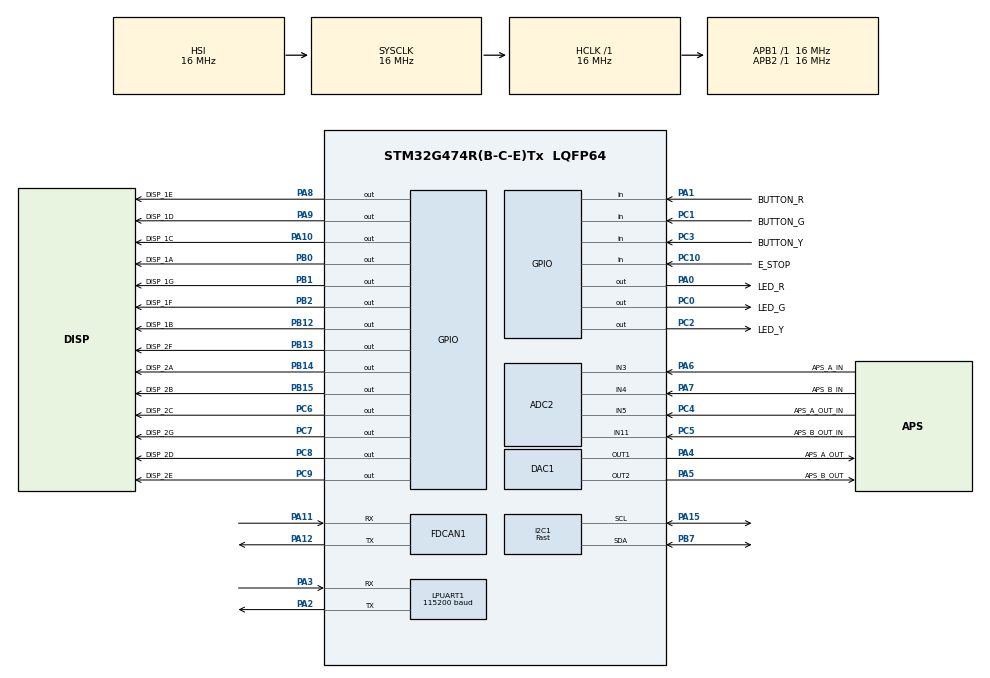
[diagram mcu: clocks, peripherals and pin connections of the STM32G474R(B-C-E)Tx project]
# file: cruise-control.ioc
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ADC2.Channel-2\#ChannelRegularConversion=ADC_CHANNEL_3
ADC2.Channel-3\#ChannelRegularConversion=ADC_CHANNEL_4
ADC2.Channel-4\#ChannelRegularConversion=ADC_CHANNEL_5
ADC2.Channel-5\#ChannelRegularConversion=ADC_CHANNEL_11
ADC2.ContinuousConvMode=ENABLE
ADC2.DMAContinuousRequests=ENABLE
ADC2.NbrOfConversion=4
ADC2.NbrOfConversionFlag=1
ADC2.OffsetNumber-2\#ChannelRegularConversion=ADC_OFFSET_NONE
ADC2.OffsetNumber-3\#ChannelRegularConversion=ADC_OFFSET_NONE
ADC2.OffsetNumber-4\#ChannelRegularConversion=ADC_OFFSET_NONE
ADC2.OffsetNumber-5\#ChannelRegularConversion=ADC_OFFSET_NONE
ADC2.Overrun=ADC_OVR_DATA_OVERWRITTEN
ADC2.Rank-2\#ChannelRegularConversion=1
ADC2.Rank-3\#ChannelRegularConversion=2
ADC2.Rank-4\#ChannelRegularConversion=3
ADC2.Rank-5\#ChannelRegularConversion=4
ADC2.SamplingTime-2\#ChannelRegularConversion=ADC_SAMPLETIME_640CYCLES_5
ADC2.SamplingTime-3\#ChannelRegularConversion=ADC_SAMPLETIME_640CYCLES_5
ADC2.SamplingTime-4\#ChannelRegularConversion=ADC_SAMPLETIME_640CYCLES_5
ADC2.SamplingTime-5\#ChannelRegularConversion=ADC_SAMPLETIME_640CYCLES_5
DAC1.DAC_Channel-DAC_OUT2=DAC_CHANNEL_2
Dma.ADC2.0.Direction=DMA_PERIPH_TO_MEMORY
Dma.ADC2.0.EventEnable=DISABLE
Dma.ADC2.0.Instance=DMA1_Channel1
Dma.ADC2.0.MemDataAlignment=DMA_MDATAALIGN_HALFWORD
Dma.ADC2.0.MemInc=DMA_MINC_ENABLE
Dma.ADC2.0.Mode=DMA_CIRCULAR
Dma.ADC2.0.PeriphDataAlignment=DMA_PDATAALIGN_HALFWORD
Dma.ADC2.0.PeriphInc=DMA_PINC_DISABLE
Dma.ADC2.0.Polarity=HAL_DMAMUX_REQ_GEN_RISING
Dma.ADC2.0.Priority=DMA_PRIORITY_LOW
Dma.ADC2.0.RequestNumber=1
Dma.ADC2.0.SignalID=NONE
Dma.ADC2.0.SyncEnable=DISABLE
Dma.ADC2.0.SyncPolarity=HAL_DMAMUX_SYNC_NO_EVENT
Dma.ADC2.0.SyncRequestNumber=1
Dma.ADC2.0.SyncSignalID=NONE
Dma.Request0=ADC2
FDCAN1.AutoRetransmission=ENABLE
FDCAN1.CalculateBaudRateNominal=500000
FDCAN1.CalculateTimeBitNominal=2000
FDCAN1.CalculateTimeQuantumNominal=125.0
FDCAN1.ClockDivider=FDCAN_CLOCK_DIV1
FDCAN1.NominalPrescaler=2
FDCAN1.NominalTimeSeg1=13
FDCAN1.StdFiltersNbr=1
I2C1.I2C_Speed_Mode=I2C_Fast
I2C1.Timing=0x0010061A
LPUART1.BaudRate=115200
Mcu.Family=STM32G4
Mcu.Name=STM32G474R(B-C-E)Tx
Mcu.Package=LQFP64
NVIC.ADC1_2_IRQn=true\:0\:0\:false\:false\:true\:true\:true\:true
NVIC.DMA1_Channel1_IRQn=true\:0\:0\:false\:false\:true\:false\:true\:true
NVIC.FDCAN1_IT0_IRQn=true\:0\:0\:false\:false\:true\:true\:true\:true
NVIC.FDCAN1_IT1_IRQn=true\:0\:0\:false\:false\:true\:true\:true\:true
NVIC.I2C1_ER_IRQn=true\:0\:0\:false\:false\:true\:true\:true\:true
NVIC.I2C1_EV_IRQn=true\:0\:0\:false\:false\:true\:true\:true\:true
NVIC.PriorityGroup=NVIC_PRIORITYGROUP_4
PA0.GPIO_Label=LED_R
PA0.Signal=GPIO_Output
PA1.GPIO_Label=BUTTON_R
PA1.Signal=GPIO_Input
PA10.GPIO_Label=DISP_1C
PA10.Signal=GPIO_Output
PA11.Mode=FDCAN_Activate
PA11.Signal=FDCAN1_RX
PA12.Mode=FDCAN_Activate
PA12.Signal=FDCAN1_TX
PA13.Mode=Trace_Asynchronous_SW
PA13.Signal=SYS_JTMS-SWDIO
PA14.Mode=Trace_Asynchronous_SW
PA14.Signal=SYS_JTCK-SWCLK
PA15.Mode=I2C
PA15.Signal=I2C1_SCL
PA2.Mode=Asynchronous
PA2.Signal=LPUART1_TX
PA3.Mode=Asynchronous
PA3.Signal=LPUART1_RX
PA4.GPIO_Label=APS_A_OUT
PA4.Signal=COMP_DAC11_group
PA5.GPIO_Label=APS_B_OUT
PA5.Signal=COMP_DAC12_group
PA6.GPIO_Label=APS_A_IN
PA6.Mode=IN3-Single-Ended
PA6.Signal=ADC2_IN3
PA7.GPIO_Label=APS_B_IN
PA7.Mode=IN4-Single-Ended
PA7.Signal=ADC2_IN4
PA8.GPIO_Label=DISP_1E
PA8.Signal=GPIO_Output
PA9.GPIO_Label=DISP_1D
PA9.Signal=GPIO_Output
PB0.GPIO_Label=DISP_1A
PB0.Signal=GPIO_Output
PB1.GPIO_Label=DISP_1G
PB1.Signal=GPIO_Output
PB12.GPIO_Label=DISP_1B
PB12.Signal=GPIO_Output
PB13.GPIO_Label=DISP_2F
PB13.Signal=GPIO_Output
PB14.GPIO_Label=DISP_2A
PB14.Signal=GPIO_Output
PB15.GPIO_Label=DISP_2B
PB15.Signal=GPIO_Output
PB2.GPIO_Label=DISP_1F
PB2.Signal=GPIO_Output
PB3.Mode=Trace_Asynchronous_SW
PB3.Signal=SYS_JTDO-SWO
PB7.Mode=I2C
PB7.Signal=I2C1_SDA
PC0.GPIO_Label=LED_G
PC0.Signal=GPIO_Output
PC1.GPIO_Label=BUTTON_G
PC1.Signal=GPIO_Input
PC10.GPIO_Label=E_STOP
PC10.Signal=GPIO_Input
PC2.GPIO_Label=LED_Y
PC2.Signal=GPIO_Output
PC3.GPIO_Label=BUTTON_Y
PC3.Signal=GPIO_Input
PC4.GPIO_Label=APS_A_OUT_IN
PC4.Mode=IN5-Single-Ended
PC4.Signal=ADC2_IN5
PC5.GPIO_Label=APS_B_OUT_IN
PC5.Mode=IN11-Single-Ended
PC5.Signal=ADC2_IN11
PC6.GPIO_Label=DISP_2C
PC6.Signal=GPIO_Output
PC7.GPIO_Label=DISP_2G
PC7.Signal=GPIO_Output
PC8.GPIO_Label=DISP_2D
PC8.Signal=GPIO_Output
PC9.GPIO_Label=DISP_2E
PC9.Signal=GPIO_Output
PF0-OSC_IN.Signal=RCC_OSC_IN
PF1-OSC_OUT.Signal=RCC_OSC_OUT
ProjectManager.HeapSize=0x200
ProjectManager.StackSize=0x400
ProjectManager.TargetToolchain=STM32CubeIDE
RCC.ADC12Freq_Value=16000000
RCC.ADC345Freq_Value=16000000
RCC.AHBFreq_Value=16000000
RCC.APB1Freq_Value=16000000
RCC.APB1TimFreq_Value=16000000
RCC.APB2Freq_Value=16000000
RCC.APB2TimFreq_Value=16000000
RCC.CortexFreq_Value=16000000
RCC.EXTERNAL_CLOCK_VALUE=12288000
RCC.HCLKFreq_Value=16000000
RCC.HSE_VALUE=24000000
RCC.HSI48_VALUE=48000000
RCC.HSI_VALUE=16000000
RCC.LSE_VALUE=32768
RCC.PLLM=RCC_PLLM_DIV2
RCC.SYSCLKFreq_VALUE=16000000
RCC.USBFreq_Value=32000000
RCC.VCOOutputFreq_Value=64000000
SH.COMP_DAC11_group.0=DAC1_OUT1,DAC_OUT1
SH.COMP_DAC12_group.0=DAC1_OUT2,DAC_OUT2
board=custom

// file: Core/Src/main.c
/* USER CODE BEGIN Header */
/**
  ******************************************************************************
  * @file           : main.c
  * @brief          : Main program body
  ******************************************************************************
  * @attention
  *
  * Copyright (c) 2023 STMicroelectronics.
  * All rights reserved.
  *
  * This software is licensed under terms that can be found in the LICENSE file
  * in the root directory of this software component.
  * If no LICENSE file comes with this software, it is provided AS-IS.
  *
  ******************************************************************************
  */
/* USER CODE END Header */
#include "main.h"

/* USER CODE BEGIN Includes */
#include <stdio.h>
#include "display.h"
#include "obd2.h"
#include "led.h"
#include "lsm6dsl.h"
#include "button.h"
#include "throttle_map.h"
#include "controller.h"
#include "fir_filter.h"
/* USER CODE END Includes */

/* USER CODE BEGIN PD */
#define ADC_APS_A 0
#define ADC_APS_B 1
#define ADC_APS_A_OUT 2
#define ADC_APS_B_OUT 3
#define ADC_NUM_CHANNELS 4
/* USER CODE END PD */

ADC_HandleTypeDef hadc2;
DMA_HandleTypeDef hdma_adc2;

DAC_HandleTypeDef hdac1;

FDCAN_HandleTypeDef hfdcan1;

I2C_HandleTypeDef hi2c1;

UART_HandleTypeDef hlpuart1;

/* USER CODE BEGIN PV */
uint16_t adc_buffer[ADC_NUM_CHANNELS];
/* USER CODE END PV */

void SystemClock_Config(void);
static void MX_GPIO_Init(void);
static void MX_DMA_Init(void);
static void MX_LPUART1_UART_Init(void);
static void MX_ADC2_Init(void);
static void MX_FDCAN1_Init(void);
static void MX_I2C1_Init(void);
static void MX_DAC1_Init(void);

/* USER CODE BEGIN 0 */
float ADC_conv_count_to_volts(uint16_t count)
{
	return (((2.2 + 1.5) * ((3.3 * count) / 4095.0f)) / 2.2) + 0.1;
}
uint16_t DAC_conv_volts_to_count(float v)
{
	return (4095.0f * (v - 0.01)) / (((22.0f / 33.0f) + 1) * 3.3);
}
/* USER CODE END 0 */

int main(void)
{

  /* MCU Configuration--------------------------------------------------------*/

  /* Reset of all peripherals, Initializes the Flash interface and the Systick. */
  HAL_Init();

  /* Configure the system clock */
  SystemClock_Config();

  /* Initialize all configured peripherals */
  MX_GPIO_Init();
  MX_DMA_Init();
  MX_LPUART1_UART_Init();
  MX_ADC2_Init();
  MX_FDCAN1_Init();
  MX_I2C1_Init();
  MX_DAC1_Init();
  /* USER CODE BEGIN 2 */
  HAL_ADC_Start_DMA(&hadc2, (uint32_t *) adc_buffer, ADC_NUM_CHANNELS);

  obd2_init(&hfdcan1);

  controller_init();

  HAL_DAC_Start(&hdac1, DAC_CHANNEL_1);
  HAL_DAC_Start(&hdac1, DAC_CHANNEL_2);

  uint32_t last_update = HAL_GetTick();
  /* USER CODE END 2 */

  /* Infinite loop */
  /* USER CODE BEGIN WHILE */
  while (1)
  {
	float aps_a_in = ADC_conv_count_to_volts(adc_buffer[ADC_APS_A]);
	float aps_b_in = ADC_conv_count_to_volts(adc_buffer[ADC_APS_B]);

	float aps_a_out_actual = ADC_conv_count_to_volts(adc_buffer[ADC_APS_A_OUT]);
	float aps_b_out_actual = ADC_conv_count_to_volts(adc_buffer[ADC_APS_B_OUT]);

	UNUSED(aps_a_out_actual);
	UNUSED(aps_b_out_actual);

	float aps_a_out = 0;
	float aps_b_out = 0;

	uint8_t aps_agreement = 0;

	HAL_StatusTypeDef obd2_status = HAL_OK;

	float throttle_in = 0;
	float throttle_out = 0;

	float current_speed = 0;

	Controller_Error error_flag = CONTROLLER_ERROR_OK;

	obd2_status = obd2_get_status();

	if (obd2_status != HAL_OK)
	{
		error_flag |= CONTROLLER_ERROR_CAN;
	}

	obd2_status = obd2_request_speed(&hfdcan1);

	if (obd2_status != HAL_OK)
	{
		error_flag |= CONTROLLER_ERROR_CAN;
	}

	current_speed = obd2_get_speed();

	throttle_in = throttle_map(aps_a_in, aps_b_in, &aps_agreement);

	if (aps_agreement == 0)
	{
		error_flag |= CONTROLLER_ERROR_APS;
	}

	throttle_out = controller_run(current_speed, throttle_in, error_flag);

	throttle_map_inv(throttle_out, &aps_a_out, &aps_b_out);

	HAL_DAC_SetValue(&hdac1, DAC_CHANNEL_1, DAC_ALIGN_12B_R, DAC_conv_volts_to_count(aps_a_out));
	HAL_DAC_SetValue(&hdac1, DAC_CHANNEL_2, DAC_ALIGN_12B_R, DAC_conv_volts_to_count(aps_b_out));

	printf("a_in:%.3f  b_in:%.3f  t_in:%d  t_out:%d  a_out:%.3f  b_out:%.3f\r\n", aps_a_in, aps_b_in, (uint8_t)throttle_in, (uint8_t)throttle_out, aps_a_out_actual, aps_b_out_actual);
//	printf("%ld, %.3f, %.3f, %.3f, %.3f\r\n", HAL_GetTick(), aps_a_in, aps_b_in, aps_a_out_actual, aps_b_out_actual);

	while (HAL_GetTick() - last_update < CONTROLLER_LOOP_PERIOD_MS);
	last_update = HAL_GetTick();
    /* USER CODE END WHILE */

  }
}

void SystemClock_Config(void)
{
  RCC_OscInitTypeDef RCC_OscInitStruct = {0};
  RCC_ClkInitTypeDef RCC_ClkInitStruct = {0};

  /** Configure the main internal regulator output voltage
  */
  HAL_PWREx_ControlVoltageScaling(PWR_REGULATOR_VOLTAGE_SCALE1);

  /** Initializes the RCC Oscillators according to the specified parameters
  * in the RCC_OscInitTypeDef structure.
  */
  RCC_OscInitStruct.OscillatorType = RCC_OSCILLATORTYPE_HSI;
  RCC_OscInitStruct.HSIState = RCC_HSI_ON;
  RCC_OscInitStruct.HSICalibrationValue = RCC_HSICALIBRATION_DEFAULT;
  RCC_OscInitStruct.PLL.PLLState = RCC_PLL_NONE;
  if (HAL_RCC_OscConfig(&RCC_OscInitStruct) != HAL_OK)
  {
    Error_Handler();
  }

  /** Initializes the CPU, AHB and APB buses clocks
  */
  RCC_ClkInitStruct.ClockType = RCC_CLOCKTYPE_HCLK|RCC_CLOCKTYPE_SYSCLK
                              |RCC_CLOCKTYPE_PCLK1|RCC_CLOCKTYPE_PCLK2;
  RCC_ClkInitStruct.SYSCLKSource = RCC_SYSCLKSOURCE_HSI;
  RCC_ClkInitStruct.AHBCLKDivider = RCC_SYSCLK_DIV1;
  RCC_ClkInitStruct.APB1CLKDivider = RCC_HCLK_DIV1;
  RCC_ClkInitStruct.APB2CLKDivider = RCC_HCLK_DIV1;

  if (HAL_RCC_ClockConfig(&RCC_ClkInitStruct, FLASH_LATENCY_0) != HAL_OK)
  {
    Error_Handler();
  }
}

static void MX_ADC2_Init(void)
{

  ADC_ChannelConfTypeDef sConfig = {0};

  /** Common config
  */
  hadc2.Instance = ADC2;
  hadc2.Init.ClockPrescaler = ADC_CLOCK_SYNC_PCLK_DIV2;
  hadc2.Init.Resolution = ADC_RESOLUTION_12B;
  hadc2.Init.DataAlign = ADC_DATAALIGN_RIGHT;
  hadc2.Init.GainCompensation = 0;
  hadc2.Init.ScanConvMode = ADC_SCAN_ENABLE;
  hadc2.Init.EOCSelection = ADC_EOC_SINGLE_CONV;
  hadc2.Init.LowPowerAutoWait = DISABLE;
  hadc2.Init.ContinuousConvMode = ENABLE;
  hadc2.Init.NbrOfConversion = 4;
  hadc2.Init.DiscontinuousConvMode = DISABLE;
  hadc2.Init.ExternalTrigConv = ADC_SOFTWARE_START;
  hadc2.Init.ExternalTrigConvEdge = ADC_EXTERNALTRIGCONVEDGE_NONE;
  hadc2.Init.DMAContinuousRequests = ENABLE;
  hadc2.Init.Overrun = ADC_OVR_DATA_OVERWRITTEN;
  hadc2.Init.OversamplingMode = DISABLE;
  if (HAL_ADC_Init(&hadc2) != HAL_OK)
  {
    Error_Handler();
  }

  /** Configure Regular Channel
  */
  sConfig.Channel = ADC_CHANNEL_3;
  sConfig.Rank = ADC_REGULAR_RANK_1;
  sConfig.SamplingTime = ADC_SAMPLETIME_640CYCLES_5;
  sConfig.SingleDiff = ADC_SINGLE_ENDED;
  sConfig.OffsetNumber = ADC_OFFSET_NONE;
  sConfig.Offset = 0;
  if (HAL_ADC_ConfigChannel(&hadc2, &sConfig) != HAL_OK)
  {
    Error_Handler();
  }

  /** Configure Regular Channel
  */
  sConfig.Channel = ADC_CHANNEL_4;
  sConfig.Rank = ADC_REGULAR_RANK_2;
  if (HAL_ADC_ConfigChannel(&hadc2, &sConfig) != HAL_OK)
  {
    Error_Handler();
  }

  /** Configure Regular Channel
  */
  sConfig.Channel = ADC_CHANNEL_5;
  sConfig.Rank = ADC_REGULAR_RANK_3;
  if (HAL_ADC_ConfigChannel(&hadc2, &sConfig) != HAL_OK)
  {
    Error_Handler();
  }

  /** Configure Regular Channel
  */
  sConfig.Channel = ADC_CHANNEL_11;
  sConfig.Rank = ADC_REGULAR_RANK_4;
  if (HAL_ADC_ConfigChannel(&hadc2, &sConfig) != HAL_OK)
  {
    Error_Handler();
  }

}

static void MX_DAC1_Init(void)
{

  DAC_ChannelConfTypeDef sConfig = {0};

  /** DAC Initialization
  */
  hdac1.Instance = DAC1;
  if (HAL_DAC_Init(&hdac1) != HAL_OK)
  {
    Error_Handler();
  }

  /** DAC channel OUT1 config
  */
  sConfig.DAC_HighFrequency = DAC_HIGH_FREQUENCY_INTERFACE_MODE_AUTOMATIC;
  sConfig.DAC_DMADoubleDataMode = DISABLE;
  sConfig.DAC_SignedFormat = DISABLE;
  sConfig.DAC_SampleAndHold = DAC_SAMPLEANDHOLD_DISABLE;
  sConfig.DAC_Trigger = DAC_TRIGGER_NONE;
  sConfig.DAC_Trigger2 = DAC_TRIGGER_NONE;
  sConfig.DAC_OutputBuffer = DAC_OUTPUTBUFFER_ENABLE;
  sConfig.DAC_ConnectOnChipPeripheral = DAC_CHIPCONNECT_EXTERNAL;
  sConfig.DAC_UserTrimming = DAC_TRIMMING_FACTORY;
  if (HAL_DAC_ConfigChannel(&hdac1, &sConfig, DAC_CHANNEL_1) != HAL_OK)
  {
    Error_Handler();
  }

  /** DAC channel OUT2 config
  */
  if (HAL_DAC_ConfigChannel(&hdac1, &sConfig, DAC_CHANNEL_2) != HAL_OK)
  {
    Error_Handler();
  }

}

static void MX_FDCAN1_Init(void)
{

  hfdcan1.Instance = FDCAN1;
  hfdcan1.Init.ClockDivider = FDCAN_CLOCK_DIV1;
  hfdcan1.Init.FrameFormat = FDCAN_FRAME_CLASSIC;
  hfdcan1.Init.Mode = FDCAN_MODE_NORMAL;
  hfdcan1.Init.AutoRetransmission = ENABLE;
  hfdcan1.Init.TransmitPause = DISABLE;
  hfdcan1.Init.ProtocolException = DISABLE;
  hfdcan1.Init.NominalPrescaler = 2;
  hfdcan1.Init.NominalSyncJumpWidth = 1;
  hfdcan1.Init.NominalTimeSeg1 = 13;
  hfdcan1.Init.NominalTimeSeg2 = 2;
  hfdcan1.Init.DataPrescaler = 1;
  hfdcan1.Init.DataSyncJumpWidth = 1;
  hfdcan1.Init.DataTimeSeg1 = 1;
  hfdcan1.Init.DataTimeSeg2 = 1;
  hfdcan1.Init.StdFiltersNbr = 1;
  hfdcan1.Init.ExtFiltersNbr = 0;
  hfdcan1.Init.TxFifoQueueMode = FDCAN_TX_FIFO_OPERATION;
  if (HAL_FDCAN_Init(&hfdcan1) != HAL_OK)
  {
    Error_Handler();
  }

}

static void MX_I2C1_Init(void)
{

  hi2c1.Instance = I2C1;
  hi2c1.Init.Timing = 0x0010061A;
  hi2c1.Init.OwnAddress1 = 0;
  hi2c1.Init.AddressingMode = I2C_ADDRESSINGMODE_7BIT;
  hi2c1.Init.DualAddressMode = I2C_DUALADDRESS_DISABLE;
  hi2c1.Init.OwnAddress2 = 0;
  hi2c1.Init.OwnAddress2Masks = I2C_OA2_NOMASK;
  hi2c1.Init.GeneralCallMode = I2C_GENERALCALL_DISABLE;
  hi2c1.Init.NoStretchMode = I2C_NOSTRETCH_DISABLE;
  if (HAL_I2C_Init(&hi2c1) != HAL_OK)
  {
    Error_Handler();
  }

  /** Configure Analogue filter
  */
  if (HAL_I2CEx_ConfigAnalogFilter(&hi2c1, I2C_ANALOGFILTER_ENABLE) != HAL_OK)
  {
    Error_Handler();
  }

  /** Configure Digital filter
  */
  if (HAL_I2CEx_ConfigDigitalFilter(&hi2c1, 0) != HAL_OK)
  {
    Error_Handler();
  }

}

static void MX_LPUART1_UART_Init(void)
{

  hlpuart1.Instance = LPUART1;
  hlpuart1.Init.BaudRate = 115200;
  hlpuart1.Init.WordLength = UART_WORDLENGTH_8B;
  hlpuart1.Init.StopBits = UART_STOPBITS_1;
  hlpuart1.Init.Parity = UART_PARITY_NONE;
  hlpuart1.Init.Mode = UART_MODE_TX_RX;
  hlpuart1.Init.HwFlowCtl = UART_HWCONTROL_NONE;
  hlpuart1.Init.OneBitSampling = UART_ONE_BIT_SAMPLE_DISABLE;
  hlpuart1.Init.ClockPrescaler = UART_PRESCALER_DIV1;
  hlpuart1.AdvancedInit.AdvFeatureInit = UART_ADVFEATURE_NO_INIT;
  if (HAL_UART_Init(&hlpuart1) != HAL_OK)
  {
    Error_Handler();
  }
  if (HAL_UARTEx_SetTxFifoThreshold(&hlpuart1, UART_TXFIFO_THRESHOLD_1_8) != HAL_OK)
  {
    Error_Handler();
  }
  if (HAL_UARTEx_SetRxFifoThreshold(&hlpuart1, UART_RXFIFO_THRESHOLD_1_8) != HAL_OK)
  {
    Error_Handler();
  }
  if (HAL_UARTEx_DisableFifoMode(&hlpuart1) != HAL_OK)
  {
    Error_Handler();
  }

}

static void MX_DMA_Init(void)
{

  /* DMA controller clock enable */
  __HAL_RCC_DMAMUX1_CLK_ENABLE();
  __HAL_RCC_DMA1_CLK_ENABLE();

  /* DMA interrupt init */
  /* DMA1_Channel1_IRQn interrupt configuration */
  HAL_NVIC_SetPriority(DMA1_Channel1_IRQn, 0, 0);
  HAL_NVIC_EnableIRQ(DMA1_Channel1_IRQn);

}

static void MX_GPIO_Init(void)
{
  GPIO_InitTypeDef GPIO_InitStruct = {0};

  /* GPIO Ports Clock Enable */
  __HAL_RCC_GPIOF_CLK_ENABLE();
  __HAL_RCC_GPIOC_CLK_ENABLE();
  __HAL_RCC_GPIOA_CLK_ENABLE();
  __HAL_RCC_GPIOB_CLK_ENABLE();

  /*Configure GPIO pin Output Level */
  HAL_GPIO_WritePin(GPIOC, LED_G_Pin|LED_Y_Pin|DISP_2C_Pin|DISP_2G_Pin
                          |DISP_2D_Pin|DISP_2E_Pin, GPIO_PIN_RESET);

  /*Configure GPIO pin Output Level */
  HAL_GPIO_WritePin(GPIOA, LED_R_Pin|DISP_1E_Pin|DISP_1D_Pin|DISP_1C_Pin, GPIO_PIN_RESET);

  /*Configure GPIO pin Output Level */
  HAL_GPIO_WritePin(GPIOB, DISP_1A_Pin|DISP_1G_Pin|DISP_1F_Pin|DISP_1B_Pin
                          |DISP_2F_Pin|DISP_2A_Pin|DISP_2B_Pin, GPIO_PIN_RESET);

  /*Configure GPIO pins : LED_G_Pin LED_Y_Pin DISP_2C_Pin DISP_2G_Pin
                           DISP_2D_Pin DISP_2E_Pin */
  GPIO_InitStruct.Pin = LED_G_Pin|LED_Y_Pin|DISP_2C_Pin|DISP_2G_Pin
                          |DISP_2D_Pin|DISP_2E_Pin;
  GPIO_InitStruct.Mode = GPIO_MODE_OUTPUT_PP;
  GPIO_InitStruct.Pull = GPIO_NOPULL;
  GPIO_InitStruct.Speed = GPIO_SPEED_FREQ_LOW;
  HAL_GPIO_Init(GPIOC, &GPIO_InitStruct);

  /*Configure GPIO pins : BUTTON_G_Pin BUTTON_Y_Pin E_STOP_Pin */
  GPIO_InitStruct.Pin = BUTTON_G_Pin|BUTTON_Y_Pin|E_STOP_Pin;
  GPIO_InitStruct.Mode = GPIO_MODE_INPUT;
  GPIO_InitStruct.Pull = GPIO_NOPULL;
  HAL_GPIO_Init(GPIOC, &GPIO_InitStruct);

  /*Configure GPIO pins : LED_R_Pin DISP_1E_Pin DISP_1D_Pin DISP_1C_Pin */
  GPIO_InitStruct.Pin = LED_R_Pin|DISP_1E_Pin|DISP_1D_Pin|DISP_1C_Pin;
  GPIO_InitStruct.Mode = GPIO_MODE_OUTPUT_PP;
  GPIO_InitStruct.Pull = GPIO_NOPULL;
  GPIO_InitStruct.Speed = GPIO_SPEED_FREQ_LOW;
  HAL_GPIO_Init(GPIOA, &GPIO_InitStruct);

  /*Configure GPIO pin : BUTTON_R_Pin */
  GPIO_InitStruct.Pin = BUTTON_R_Pin;
  GPIO_InitStruct.Mode = GPIO_MODE_INPUT;
  GPIO_InitStruct.Pull = GPIO_NOPULL;
  HAL_GPIO_Init(BUTTON_R_GPIO_Port, &GPIO_InitStruct);

  /*Configure GPIO pins : DISP_1A_Pin DISP_1G_Pin DISP_1F_Pin DISP_1B_Pin
                           DISP_2F_Pin DISP_2A_Pin DISP_2B_Pin */
  GPIO_InitStruct.Pin = DISP_1A_Pin|DISP_1G_Pin|DISP_1F_Pin|DISP_1B_Pin
                          |DISP_2F_Pin|DISP_2A_Pin|DISP_2B_Pin;
  GPIO_InitStruct.Mode = GPIO_MODE_OUTPUT_PP;
  GPIO_InitStruct.Pull = GPIO_NOPULL;
  GPIO_InitStruct.Speed = GPIO_SPEED_FREQ_LOW;
  HAL_GPIO_Init(GPIOB, &GPIO_InitStruct);

}

/* USER CODE BEGIN 4 */
void HAL_FDCAN_RxFifo0Callback(FDCAN_HandleTypeDef *CanHandler, uint32_t RxFifo0ITs)
{
	obd2_handle_rx(&hfdcan1);
}

#ifdef __GNUC__
#define PUTCHAR_PROTOTYPE int __io_putchar(int ch)
#else
  #define PUTCHAR_PROTOTYPE int fputc(int ch, FILE *f)
#endif /* __GNUC__ */
PUTCHAR_PROTOTYPE
{
  HAL_UART_Transmit(&hlpuart1, (uint8_t *)&ch, 1, 0xFFFF);
  return ch;
}
/* USER CODE END 4 */

void Error_Handler(void)
{
  /* USER CODE BEGIN Error_Handler_Debug */
  /* User can add his own implementation to report the HAL error return state */
  HAL_GPIO_WritePin(LED_R_GPIO_Port, LED_R_Pin, GPIO_PIN_SET);
  HAL_GPIO_WritePin(LED_Y_GPIO_Port, LED_Y_Pin, GPIO_PIN_RESET);
  HAL_GPIO_WritePin(LED_G_GPIO_Port, LED_G_Pin, GPIO_PIN_RESET);
  __disable_irq();
  while (1)
  {
  }
  /* USER CODE END Error_Handler_Debug */
}
